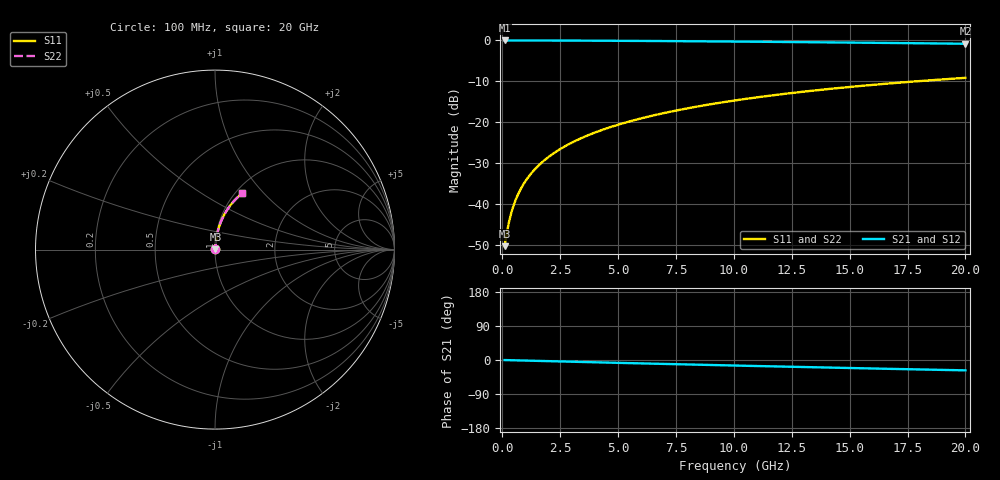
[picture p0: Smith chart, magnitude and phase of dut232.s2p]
! Touchstone file exported from HFSS 2024.1.0
!  File:  C:/UserFiles/LocalFiles/RDL_TSV_Batchsim/temp_RDL_bottom_232_1778700880.aedt
!  Generated:  03:37:15 AM May 14, 2026
!  Design:  RDL_bottom
!  Project:  temp_RDL_bottom_232_1778700880
!  Setup:  Setup1
!  Solution:  Sweep
! Variables:
!  dtsv = 10.80580581um
!  hbump = 3um
!  htsv = 68.88um
!  ldown = 315.85um
!  lrdl = 100um
!  p = 40
!  p1 = 50.2um
!  rhole = 1um
!  t = 450um
!  tdown = 4.75um
!  trdl = 3.915915916um
!  wdown = 10.38um
!  wrdl = 20um
# GHz S MA R 50.000000
! Terminal data exported
! Port[1] = RDL1_T1
! Port[2] = RDL1_T2
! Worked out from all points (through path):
!   200 points, 100 MHz to 20 GHz, reference 50 ohm
!   highest |S21| = -0.02 dB at 100 MHz (marker M1); lowest = -0.8 dB at 20 GHz (marker M2)
!   group delay of S21, straight-line fit = 3.79 ps
!   lowest |S11| = -50.4 dB at 100 MHz (marker M3), VSWR 1.01, Z = 50.2 + j0.192 ohm
!   |S11| at or under -10 dB: start of sweep to 17.94 GHz
!   |S22| runs from -50.4 to -9.2 dB; largest |S21 - S12| = 2.6e-15
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0.1  0.003021 39.2  0.9977 -0.2  0.9977 -0.2  0.003021 39.2
! Gamma 0 0 0 0
! Port Impedance 50 0 50 0
0.2  0.004489 57.9  0.9976 -0.3  0.9976 -0.3  0.004489 57.9
0.3  0.006183 66.8  0.9976 -0.5  0.9976 -0.5  0.006183 66.8
0.4  0.00795 71.7  0.9975 -0.6  0.9975 -0.6  0.00795 71.7
0.5  0.009748 74.8  0.9974 -0.8  0.9974 -0.8  0.009748 74.8
0.6  0.01156 76.9  0.9974 -0.9  0.9974 -0.9  0.01156 76.9
0.8  0.01522 79.5  0.9972 -1.2  0.9972 -1.2  0.01522 79.5
1.1  0.02075 81.6  0.9969 -1.7  0.9969 -1.7  0.02075 81.6
1.5  0.02815 82.9  0.9965 -2.3  0.9965 -2.3  0.02815 82.9
1.8  0.03371 83.3  0.9961 -2.8  0.9961 -2.8  0.03371 83.3
2.1  0.03926 83.5  0.9956 -3.2  0.9956 -3.2  0.03926 83.5
2.7  0.05037 83.5  0.9945 -4.1  0.9945 -4.1  0.05037 83.5
3.5  0.06514 83.1  0.9927 -5.3  0.9927 -5.3  0.06514 83.1
4.2  0.07802 82.6  0.9908 -6.4  0.9908 -6.4  0.07802 82.6
5  0.09271 81.9  0.9882 -7.5  0.9882 -7.5  0.0927 81.9
5.9  0.1092 81.0  0.9851 -8.8  0.9851 -8.8  0.1092 81.0
6.8  0.1256 80.1  0.9816 -10.1  0.9816 -10.1  0.1256 80.1
8.3  0.1527 78.4  0.9752 -12.2  0.9752 -12.2  0.1527 78.4
10.1  0.1848 76.3  0.9667 -14.7  0.9667 -14.7  0.1848 76.3
13.4  0.2422 72.3  0.9493 -19.1  0.9493 -19.1  0.2422 72.3
16.7  0.2966 68.2  0.93 -23.3  0.93 -23.3  0.2966 68.2
20  0.3476 64.2  0.9092 -27.3  0.9092 -27.3  0.3476 64.2
